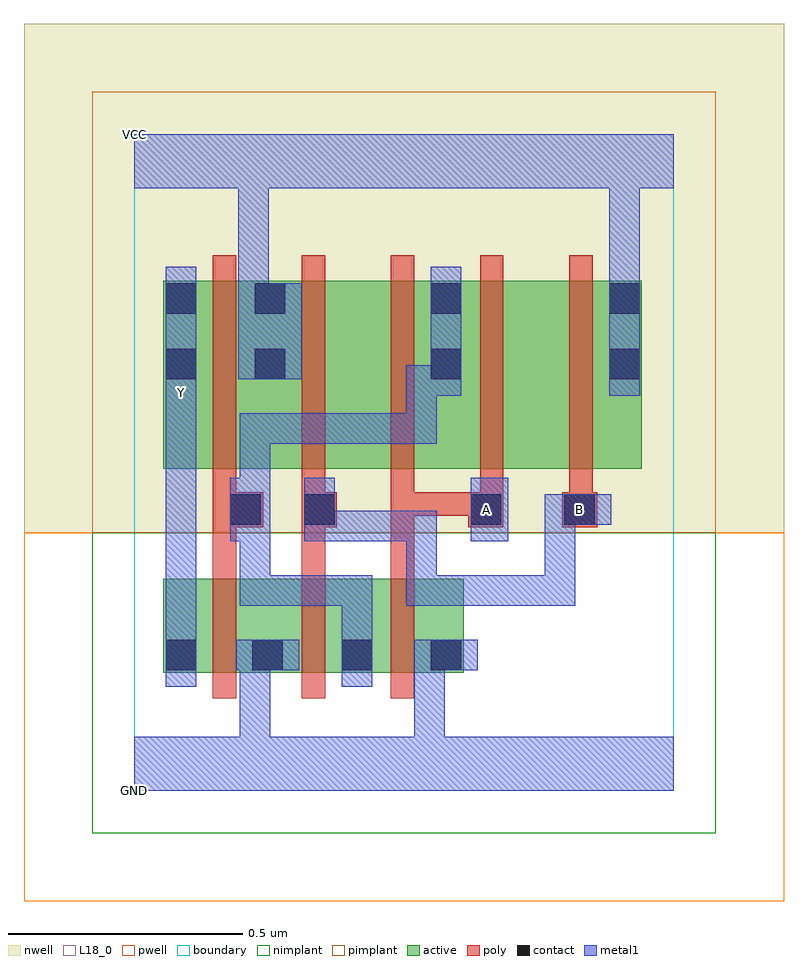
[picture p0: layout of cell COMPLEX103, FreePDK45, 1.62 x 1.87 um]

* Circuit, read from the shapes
.subckt COMPLEX103 A B GND VCC Y
M1 GND n1 Y VSUBS nfet w=0.2u l=0.05u
M2 n1 B GND VSUBS nfet w=0.2u l=0.05u
M3 GND A n1 VSUBS nfet w=0.2u l=0.05u
M4 VCC n1 Y n2 pfet w=0.4u l=0.05u
M5 n3 B VCC n2 pfet w=0.4u l=0.05u
M6 n1 A n3 n2 pfet w=0.4u l=0.05u
M7 n4 A n1 n2 pfet w=0.4u l=0.05u
M8 VCC B n4 n2 pfet w=0.4u l=0.05u
.ends

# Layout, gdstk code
import gdstk
lib = gdstk.Library(unit=1e-6, precision=1e-09)
def R(c, l, rs):  # rectangles x0, y0, x1, y1
    for r in rs: c.add(gdstk.rectangle(r[:2], r[2:], *l))
def A(c, l, x, y, w, h, nx, ny, dx, dy):  # array of equal rectangles
    R(c, l, [(x+i*dx, y+j*dy, x+i*dx+w, y+j*dy+h) for i in range(nx) for j in range(ny)])
active = (1, 0)
pwell = (2, 0)
nwell = (3, 0)
nimplant = (4, 0)
pimplant = (5, 0)
poly = (9, 0)
contact = (10, 0)
metal1 = (11, 0)
L18_0 = (18, 0)
boundary = (235, 0)

complex103 = lib.new_cell('COMPLEX103')
A(complex103, active, 0.247, 0.252, 0.075, 0.2, 3, 1, 0.19, 0)
R(complex103, active, [(0.062,0.252,0.137,0.452), (0.062,0.252,0.322,0.452), (0.247,0.252,0.512,0.452), (0.437,0.252,0.702,0.452), (0.062,0.687,0.137,1.087), (0.062,0.687,0.327,1.087), (0.252,0.687,0.327,1.087), (0.252,0.687,0.477,1.087), (0.477,0.687,0.702,1.087), (0.627,0.687,0.702,1.087), (0.627,0.687,0.857,1.087), (0.857,0.687,1.082,1.087), (1.007,0.687,1.082,1.087)])
R(complex103, pwell, [(-0.235,-0.235,1.385,0.55)])
R(complex103, nwell, [(-0.235,0.55,1.385,1.635)])
R(complex103, nimplant, [(-0.09,-0.09,1.24,0.55)])
R(complex103, pimplant, [(-0.09,0.55,1.24,1.49)])
A(complex103, poly, 0.167, 0.197, 0.05, 0.31, 3, 1, 0.19, 0)
A(complex103, poly, 0.167, 0.587, 0.05, 0.095, 5, 1, 0.19, 0)
A(complex103, poly, 0.167, 0.632, 0.05, 0.51, 5, 1, 0.19, 0)
R(complex103, poly, [(0.167,0.457,0.217,0.612), (0.357,0.457,0.407,0.612), (0.547,0.457,0.597,0.637), (0.167,0.562,0.275,0.637), (0.357,0.562,0.432,0.637), (0.712,0.562,0.787,0.637), (0.912,0.562,0.987,0.637), (0.547,0.587,0.597,0.637), (0.547,0.587,0.762,0.637), (0.712,0.587,0.762,0.637), (0.712,0.587,0.762,0.637)])
A(complex103, contact, 0.252, 0.257, 0.065, 0.065, 3, 1, 0.19, 0)
R(complex103, contact, [(0.067,0.257,0.132,0.322), (0.205,0.567,0.27,0.632), (0.362,0.567,0.427,0.632), (0.717,0.567,0.782,0.632), (0.917,0.567,0.982,0.632), (0.067,0.877,0.132,0.942), (0.257,0.877,0.322,0.942), (0.632,0.877,0.697,0.942), (1.012,0.877,1.077,0.942), (0.067,1.017,0.132,1.082), (0.257,1.017,0.322,1.082), (0.632,1.017,0.697,1.082), (1.012,1.017,1.077,1.082)])
R(complex103, metal1, [(0,0,1.15,0.115), (0.225,0.05,0.29,0.322), (0.597,0.05,0.662,0.322), (0.067,0.222,0.132,0.357), (0.442,0.222,0.507,0.357), (0.217,0.257,0.352,0.322), (0.225,0.257,0.29,0.322), (0.225,0.257,0.29,0.322), (0.225,0.257,0.29,0.322), (0.225,0.257,0.29,0.322), (0.597,0.257,0.662,0.322), (0.597,0.257,0.662,0.322), (0.597,0.257,0.662,0.322), (0.597,0.257,0.662,0.322), (0.597,0.257,0.732,0.322), (0.067,0.292,0.132,0.847), (0.442,0.292,0.507,0.357), (0.442,0.292,0.507,0.46), (0.225,0.395,0.29,0.46), (0.225,0.395,0.29,0.667), (0.225,0.395,0.507,0.46), (0.58,0.395,0.645,0.46), (0.58,0.395,0.782,0.46), (0.58,0.395,0.645,0.597), (0.717,0.395,0.782,0.46), (0.717,0.395,0.94,0.46), (0.875,0.395,0.94,0.46), (0.875,0.395,0.94,0.632), (0.205,0.532,0.27,0.667), (0.362,0.532,0.427,0.597), (0.362,0.532,0.427,0.597), (0.362,0.532,0.645,0.597), (0.362,0.532,0.427,0.667), (0.58,0.532,0.645,0.597), (0.58,0.532,0.645,0.597), (0.58,0.532,0.645,0.597), (0.717,0.532,0.797,0.667), (0.875,0.567,0.94,0.632), (0.875,0.567,0.947,0.632), (0.882,0.567,1.017,0.632), (0.205,0.602,0.29,0.667), (0.225,0.602,0.29,0.667), (0.225,0.602,0.29,0.805), (0.225,0.74,0.29,0.805), (0.225,0.74,0.507,0.805), (0.442,0.74,0.507,0.805), (0.442,0.74,0.507,0.805), (0.442,0.74,0.507,0.805), (0.442,0.74,0.645,0.805), (0.58,0.74,0.645,0.907), (0.067,0.782,0.132,0.917), (0.067,0.842,0.132,0.907), (0.067,0.842,0.132,1.117), (0.58,0.842,0.697,0.907), (0.632,0.842,0.697,1.117), (1.012,0.842,1.077,1.117), (0.222,0.877,0.357,1.082), (0.222,1.017,0.287,1.082), (0.222,1.017,0.287,1.082), (0.222,1.017,0.287,1.35), (1.012,1.052,1.077,1.35), (0,1.285,1.15,1.4), (1.012,1.285,1.077,1.35), (1.012,1.285,1.077,1.35)])
R(complex103, L18_0, [(0,0,1.15,0.115), (0.225,0.05,0.29,0.322), (0.597,0.05,0.662,0.322), (0.067,0.222,0.132,0.357), (0.217,0.257,0.352,0.322), (0.225,0.257,0.29,0.322), (0.225,0.257,0.29,0.322), (0.225,0.257,0.29,0.322), (0.225,0.257,0.29,0.322), (0.597,0.257,0.662,0.322), (0.597,0.257,0.662,0.322), (0.597,0.257,0.662,0.322), (0.597,0.257,0.662,0.322), (0.597,0.257,0.732,0.322), (0.067,0.292,0.132,0.847), (0.58,0.395,0.645,0.46), (0.58,0.395,0.645,0.597), (0.58,0.395,0.782,0.46), (0.717,0.395,0.782,0.46), (0.717,0.395,0.94,0.46), (0.875,0.395,0.94,0.46), (0.875,0.395,0.94,0.632), (0.362,0.532,0.427,0.667), (0.362,0.532,0.427,0.597), (0.362,0.532,0.427,0.597), (0.362,0.532,0.645,0.597), (0.58,0.532,0.645,0.597), (0.58,0.532,0.645,0.597), (0.58,0.532,0.645,0.597), (0.717,0.532,0.797,0.667), (0.717,0.567,0.782,0.632), (0.875,0.567,0.94,0.632), (0.875,0.567,0.947,0.632), (0.882,0.567,1.017,0.632), (0.917,0.567,0.982,0.632), (0.067,0.782,0.132,0.917), (0.067,0.817,0.132,0.882), (0.067,0.842,0.132,1.117), (0.067,0.842,0.132,0.907), (1.012,0.842,1.077,1.117), (0.222,0.877,0.357,1.082), (0.222,1.017,0.287,1.082), (0.222,1.017,0.287,1.082), (0.222,1.017,0.287,1.35), (1.012,1.052,1.077,1.35), (0,1.285,1.15,1.4), (1.012,1.285,1.077,1.35), (1.012,1.285,1.077,1.35)])
R(complex103, boundary, [(0,0,1.15,1.4)])
complex103.add(gdstk.Label('A', (0.75,0.6), layer=11, texttype=0))
complex103.add(gdstk.Label('B', (0.95,0.6), layer=11, texttype=0))
complex103.add(gdstk.Label('Y', (0.1,0.85), layer=11, texttype=0))
complex103.add(gdstk.Label('VCC', (0,1.4), layer=11, texttype=0))
complex103.add(gdstk.Label('GND', (0,0), layer=11, texttype=0))

lib.write_gds('COMPLEX103.gds')
